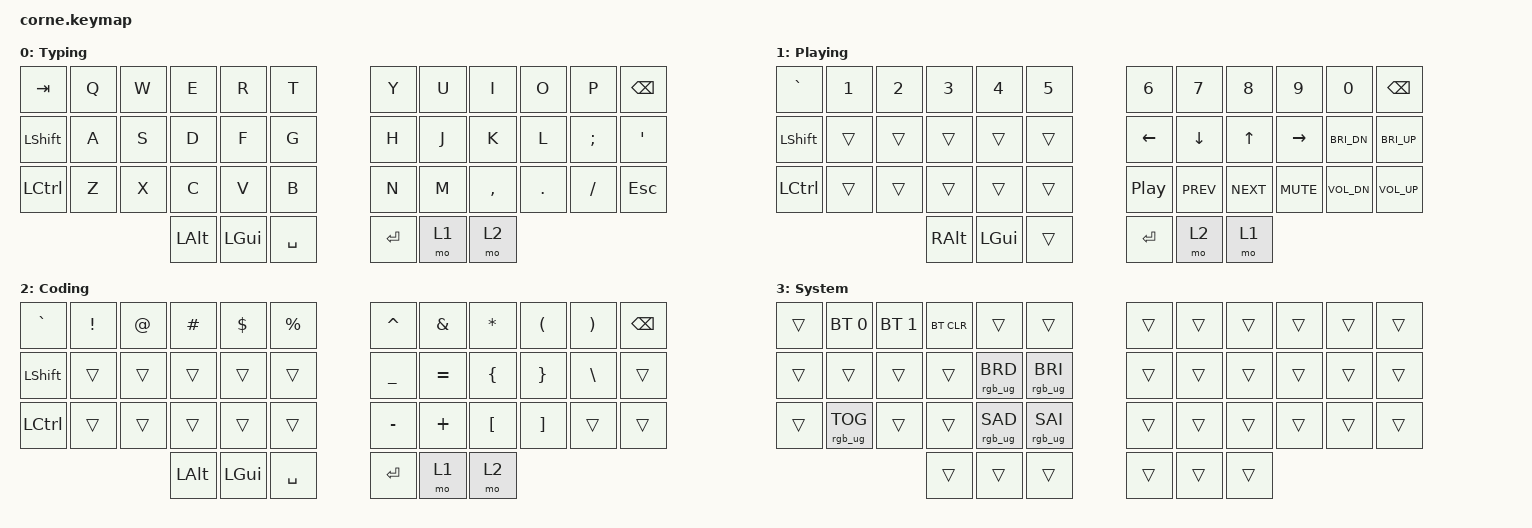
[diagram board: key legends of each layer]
#include <behaviors.dtsi>
#include <dt-bindings/zmk/keys.h>
#include <dt-bindings/zmk/rgb.h>
#include <dt-bindings/zmk/bt.h>

/ {
        conditional_layers {
                compatible = "zmk,conditional-layers";
                tri_layer {
                        if-layers = <1 2>;
                        then-layer = <3>;
                };
        };

        keymap {
                compatible = "zmk,keymap";

                default_layer {
                        display-name = "Typing";
// -----------------------------------------------------------------------------------------
// |  TAB |  Q  |  W  |  E  |  R  |  T  |   |  Y  |  U  |  I  |  O  |  P  | BSPC |
// | SHFT |  A  |  S  |  D  |  F  |  G  |   |  H  |  J  |  K  |  L  |  ;  |  '   |
// | CTRL |  Z  |  X  |  C  |  V  |  B  |   |  N  |  M  |  ,  |  .  |  /  | ESC  |
//                   | ALT | GUI | SPC |   | RET | MO1 | MO2 |
                        bindings = <
    &kp TAB    &kp Q     &kp W     &kp E     &kp R     &kp T       &kp Y     &kp U     &kp I       &kp O     &kp P     &kp BSPC
    &kp LSHFT  &kp A     &kp S     &kp D     &kp F     &kp G       &kp H     &kp J     &kp K       &kp L     &kp SEMI  &kp SQT
    &kp LCTRL  &kp Z     &kp X     &kp C     &kp V     &kp B       &kp N     &kp M     &kp COMMA   &kp DOT   &kp FSLH  &kp ESC
                        &kp LALT &kp LGUI &kp SPACE    &kp RET   &mo 1   &mo 2
                        >;
                };
                /*studio_unlock_layer {
// -----------------------------------------------------------------------------------------
// Layer dedicated to unlocking ZMK Studio. All keys are transparent except
// the top‑left key, which issues the &studio_unlock behavior.
//
// |UNLCK|      |      |      |      |      |   |      |      |      |      |      |      |
// |     |      |      |      |      |      |   |      |      |      |      |      |      |
// |     |      |      |      |      |      |   |      |      |      |      |      |      |
//                    |      |      |      |   |      |      |      |
                        bindings = <
   &studio_unlock &trans &trans &trans &trans &trans   &trans &trans &trans &trans &trans &trans
   &trans         &trans &trans &trans &trans &trans   &trans &trans &trans &trans &trans &trans
   &trans         &trans &trans &trans &trans &trans   &trans &trans &trans &trans &trans &trans
                   &trans &trans &trans   &trans &trans &trans
                        >;
                };*/
                lower_layer {
                        display-name = "Playing";
// -----------------------------------------------------------------------------------------
// |  `~  |  1  |  2  |  3  |  4  |  5  |   |  6  |  7  |  8  |  9  |  0  | BSPC |
// | SHIFT |     |     |     |     |     |   |  ←  |  ↓  |  ↑  |  →  | SCREEN- | SCREEN+ |
// | CTRL  |     |     |     |     |     |   | PLAY| PREV| NEXT| MUTE| VOL-| VOL+ |
//                    | ALT | GUI | --- |   | RET | MO2 | MO1 |
                        bindings = <
   &kp GRAVE  &kp N1       &kp N2       &kp N3       &kp N4         &kp N5           &kp N6     &kp N7     &kp N8     &kp N9      &kp N0       &kp BSPC
   &kp LSHFT  &trans       &trans       &trans       &trans         &trans           &kp LEFT   &kp DOWN   &kp UP     &kp RIGHT   &kp C_BRI_DN &kp C_BRI_UP
   &kp LCTRL  &trans       &trans       &trans       &trans         &trans           &kp C_PP &kp C_PREV   &kp C_NEXT &kp C_MUTE &kp C_VOL_DN &kp C_VOL_UP
                                    &kp RALT     &kp LGUI       &trans      &kp RET  &mo 2   &mo 1
                        >;
                };

                raise_layer {
                        display-name = "Coding";
// -----------------------------------------------------------------------------------------
// |   `~   |  !  |  @  |  #  |  $  |  %  |   |  ^  |  &  |  *  |  (  |  )  | BSPC |
// | SHFT |     |     |     |     |     |   |  _  |  =  |  {  |  }  |  \  |     |
// | CTRL |     |     |     |     |     |   |  -  |  +  |  [  |  ]  |     |      |
//                   | ALT | GUI | SPC |   | RET | MO1 | MO2 |
                        bindings = <
   &kp GRAVE &kp EXCL &kp AT   &kp HASH &kp DLLR &kp PRCNT   &kp CARET &kp AMPS  &kp ASTRK &kp LPAR &kp RPAR &kp BSPC
   &kp LSHFT &trans   &trans   &trans   &trans   &trans      &kp UNDER &kp EQUAL &kp LBRC  &kp RBRC &kp BSLH &trans
   &kp LCTRL &trans   &trans   &trans   &trans   &trans      &kp MINUS &kp PLUS  &kp LBKT  &kp RBKT &trans   &trans
                              &kp LALT &kp LGUI &kp SPACE    &kp RET   &mo 1     &mo 2
                        >;
                };

                system_layer {
                        display-name = "System";
// -----------------------------------------------------------------------------------------
// |     | BT SEL 0 | BT SEL 1 | BT CLR |     |     |   |     |     |     |     |     |     |
// |     |          |          |        | RGB BRD | RGB BRI |   |     |     |     |     |     |     |
// |     | RGB TOG  |          |        | RGB SAD | RGB SAI |   |     |     |     |     |     |     |
//                        |     |     |     |   |     |     |     |
                        bindings = <
   &trans &bt BT_SEL 0    &bt BT_SEL 1 &bt BT_CLR &trans          &trans            &trans &trans &trans &trans &trans &trans
   &trans &trans           &trans       &trans     &rgb_ug RGB_BRD &rgb_ug RGB_BRI   &trans &trans &trans &trans &trans &trans
   &trans &rgb_ug RGB_TOG &trans       &trans     &rgb_ug RGB_SAD &rgb_ug RGB_SAI   &trans &trans &trans &trans &trans &trans
                                        &trans     &trans          &trans            &trans &trans &trans
                        >;
                };
        };
};
